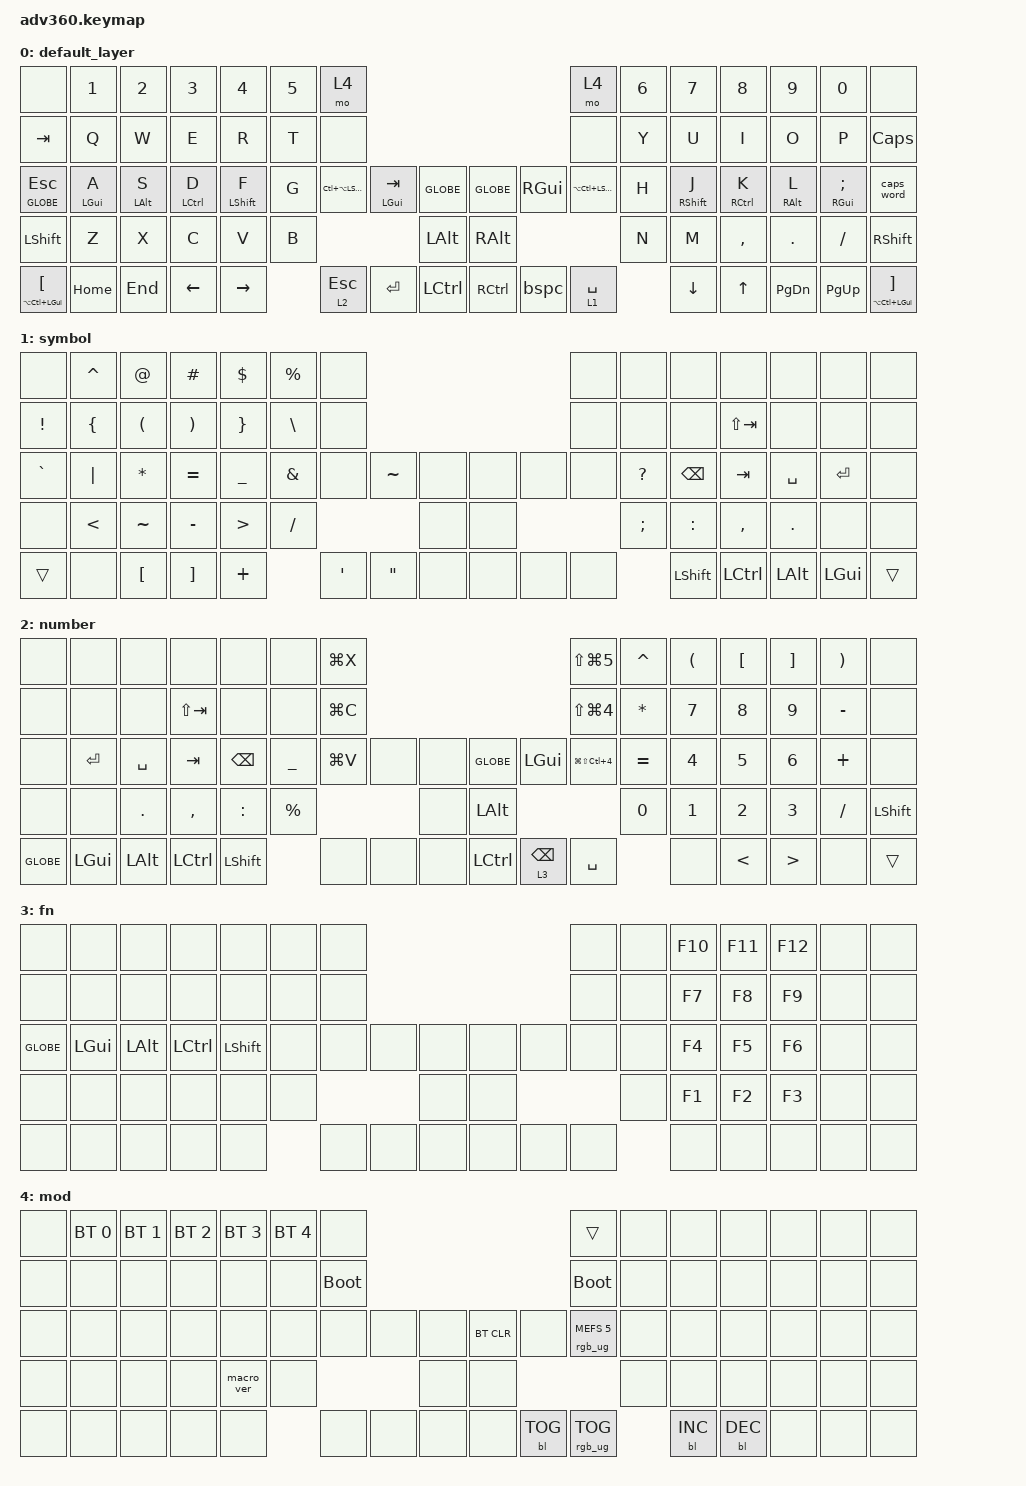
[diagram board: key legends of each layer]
#include <behaviors.dtsi>
#include <dt-bindings/zmk/backlight.h>
#include <dt-bindings/zmk/bt.h>
#include <dt-bindings/zmk/keys.h>
#include <dt-bindings/zmk/rgb.h>

/ {
    behaviors {
        #include "macros.dtsi"
      #include "version.dtsi"
      #ifndef VERSION_MACRO

        macro_ver: macro_ver {
            compatible = "zmk,behavior-macro";
            label = "macro_version";
            #binding-cells = <0>;
            bindings = <&kp RET>;
        };

        #endif

        lhmi: left_homerow_mod_index_finger {
            compatible = "zmk,behavior-hold-tap";
            #binding-cells = <2>;
            flavor = "balanced";
            tapping-term-ms = <170>;
            quick-tap-ms = <170>;
            bindings = <&kp>, <&kp>;

            hold-trigger-key-positions = <22 23 24 25 26 27 40 41 42 43 44 45 54 55 56 57 58 59 71 72 73 74 75 8 9 10 11 12 13 22 23 24 25 26 27 40 41 42 43 44 45 54 55 56 57 58 59 71 72 73 74 75 7 8 9 10 11 12 13 21 22 23 24 25 26 27 38 39 40 41 42 43 44 45 54 55 56 57 58 59 69 70 71 72 73 74 75 37 38 53 68 69 70 35 36 37 38 52 53 65 66 67 68 69 70 71>;
        };

        lhmm: left_homerow_mod_middle_finger {
            compatible = "zmk,behavior-hold-tap";
            #binding-cells = <2>;
            flavor = "tap-preferred";
            tapping-term-ms = <200>;
            quick-tap-ms = <200>;
            require-prior-idle-ms = <125>;
            bindings = <&kp>, <&kp>;

            hold-trigger-key-positions = <35 36 37 38 52 53 65 66 67 68 69 70 71 72 73 74 75 7 8 9 10 11 12 13 21 22 23 24 25 26 27 38 39 40 41 42 43 44 45 54 55 56 57 58 59 69 70 71 72 73 74 75>;
        };

        lhmr: left_homerow_mod_ring_finger {
            compatible = "zmk,behavior-hold-tap";
            #binding-cells = <2>;
            flavor = "tap-preferred";
            tapping-term-ms = <200>;
            quick-tap-ms = <200>;
            require-prior-idle-ms = <125>;
            bindings = <&kp>, <&kp>;

            hold-trigger-key-positions = <35 36 37 38 52 53 65 66 67 68 69 70 71 72 73 74 75 7 8 9 10 11 12 13 21 22 23 24 25 26 27 38 39 40 41 42 43 44 45 54 55 56 57 58 59 69 70 71 72 73 74 75>;
        };

        lhmp: left_homerow_mod_pinky_finger {
            compatible = "zmk,behavior-hold-tap";
            #binding-cells = <2>;
            flavor = "tap-preferred";
            tapping-term-ms = <200>;
            quick-tap-ms = <200>;
            require-prior-idle-ms = <125>;
            bindings = <&kp>, <&kp>;

            hold-trigger-key-positions = <35 36 37 38 52 53 65 66 67 68 69 70 7 8 9 10 11 12 13 21 22 23 24 25 26 27 38 39 40 41 42 43 44 45 54 55 56 57 58 59 68 69 70 71 72 73 74 75>;
        };

        rhmi: right_homerow_mod_index_finger {
            compatible = "zmk,behavior-hold-tap";
            #binding-cells = <2>;
            flavor = "balanced";
            tapping-term-ms = <170>;
            quick-tap-ms = <170>;
            bindings = <&kp>, <&kp>;

            hold-trigger-key-positions = <35 36 37 38 52 53 65 66 67 68 69 70 0 1 2 3 4 5 6 14 15 16 17 18 19 20 28 29 30 31 32 33 34 35 46 47 48 49 50 51 52 60 61 62 63 64 65 66 67>;
        };

        rhmm: right_homerow_mod_middle_finger {
            compatible = "zmk,behavior-hold-tap";
            #binding-cells = <2>;
            flavor = "tap-preferred";
            tapping-term-ms = <200>;
            quick-tap-ms = <200>;
            require-prior-idle-ms = <125>;
            bindings = <&kp>, <&kp>;

            hold-trigger-key-positions = <35 36 37 38 52 53 63 64 65 66 69 70 35 36 37 38 52 53 63 64 65 66 67 68 69 70 70 0 1 2 3 4 5 6 14 15 16 17 18 19 20 28 29 30 31 32 33 34 35 46 47 48 49 50 51 60 61 62 63 64 65 66>;
        };

        rhmr: right_homerow_mod_ring_finger {
            compatible = "zmk,behavior-hold-tap";
            #binding-cells = <2>;
            flavor = "tap-preferred";
            tapping-term-ms = <200>;
            quick-tap-ms = <200>;
            require-prior-idle-ms = <125>;
            bindings = <&kp>, <&kp>;

            hold-trigger-key-positions = <35 36 37 38 52 53 65 66 67 68 69 70 0 1 2 3 4 5 6 14 15 16 17 18 19 20 28 29 30 31 32 33 34 35 36 37 38 46 47 48 49 50 51 52 53 60 61 62 63 64 65 66 67 68>;
        };

        rhmp: right_homerow_mod_pinky_finger {
            compatible = "zmk,behavior-hold-tap";
            #binding-cells = <2>;
            flavor = "tap-preferred";
            tapping-term-ms = <200>;
            quick-tap-ms = <200>;
            require-prior-idle-ms = <125>;
            bindings = <&kp>, <&kp>;

            hold-trigger-key-positions = <35 36 37 38 52 53 65 66 67 68 69 70 0 1 2 3 4 5 6 14 15 16 17 18 19 20 28 29 30 31 32 33 34 35 46 47 48 49 50 51 52 60 61 62 63 64 65 66 67>;
        };

        bspc: backspace_delete {
            compatible = "zmk,behavior-mod-morph";
            label = "BACKSPACE_DELETE";
            bindings = <&kp BACKSPACE>, <&kp DELETE>;

            #binding-cells = <0>;
            mods = <(MOD_LSFT|MOD_RSFT)>;
        };

        sym_tap: sym_tap {
            compatible = "zmk,behavior-hold-tap";
            label = "SYM_TAP";
            bindings = <&mo>, <&kp>;

            #binding-cells = <2>;
            tapping-term-ms = <180>;
            flavor = "tap-preferred";
        };

        bspc_cursor: bspc_cursor {
            compatible = "zmk,behavior-hold-tap";
            label = "BSPC_CURSOR";
            bindings = <&mo>, <&bspc>;

            #binding-cells = <2>;
            tapping-term-ms = <200>;
            flavor = "tap-preferred";
        };

        select_line: select_line {
            compatible = "zmk,behavior-macro";
            #binding-cells = <0>;
            bindings = <&kp LG(LEFT_ARROW) &kp LS(LG(RIGHT))>;
            label = "SELECT_LINE";
        };

        hm: homerow_mods {
            compatible = "zmk,behavior-hold-tap";
            label = "HOMEROW_MODS";
            #binding-cells = <2>;
            tapping-term-ms = <200>;
            quick_tap_ms = <175>;
            flavor = "tap-preferred";
            bindings = <&kp>, <&kp>;
        };

        bol: bol {
            compatible = "zmk,behavior-tap-dance";
            label = "BOL";
            #binding-cells = <0>;
            bindings = <&kp LG(LEFT)>, <&kp HOME>;
        };

        eol: eol {
            compatible = "zmk,behavior-tap-dance";
            label = "EOL";
            #binding-cells = <0>;
            bindings = <&kp LG(RIGHT)>, <&kp END>;
        };

        multi_caps: multi_caps {
            compatible = "zmk,behavior-hold-tap";
            label = "MULTI_CAPS";
            bindings = <&kp>, <&caps_word>;

            #binding-cells = <2>;
            tapping-term-ms = <200>;
        };
    };

    macros {
    };

    keymap {
        compatible = "zmk,keymap";

        default_layer {
            bindings = <
&none                  &kp N1        &kp N2        &kp N3         &kp N4         &kp N5  &mo 4                                                                &mo 4              &kp N6  &kp N7         &kp N8         &kp N9        &kp N0           &none
&kp TAB                &kp Q         &kp W         &kp E          &kp R          &kp T   &none                                                                &none              &kp Y   &kp U          &kp I          &kp O         &kp P            &kp CAPS
&mt GLOBE ESC          &lhmp LGUI A  &lhmr LALT S  &lhmm LCTRL D  &lhmi LSHFT F  &kp G   &kp LC(LA(LSHFT))  &mt LGUI TAB  &kp GLOBE      &kp GLOBE  &kp RGUI  &kp LA(LC(LSHFT))  &kp H   &rhmi RSHFT J  &rhmm RCTRL K  &rhmr RALT L  &rhmp RGUI SEMI  &caps_word
&kp LSHFT              &kp Z         &kp X         &kp C          &kp V          &kp B                                    &kp LALT       &kp RALT                                &kp N   &kp M          &kp COMMA      &kp DOT       &kp FSLH         &kp RSHIFT
&mt LA(LC(LGUI)) LBKT  &kp HOME      &kp END       &kp LEFT       &kp RIGHT              &lt 2 ESC          &kp ENTER     &kp LCTRL      &kp RCTRL  &bspc     &sym_tap 1 SPACE           &kp DOWN       &kp UP         &kp PG_DN     &kp PG_UP        &mt LA(LC(LGUI)) RBKT
            >;
        };

        symbol {
            bindings = <
&none      &kp CARET  &kp AT     &kp HASH   &kp DLLR   &kp PRCNT  &none                                        &none  &none      &none      &none        &none      &none     &none
&kp EXCL   &kp LBRC   &kp LPAR   &kp RPAR   &kp RBRC   &kp BSLH   &none                                        &none  &none      &none      &kp LS(TAB)  &none      &none     &none
&kp GRAVE  &kp PIPE   &kp STAR   &kp EQUAL  &kp UNDER  &kp AMPS   &none    &kp TILDE  &none      &none  &none  &none  &kp QMARK  &kp BSPC   &kp TAB      &kp SPACE  &kp RET   &none
&none      &kp LT     &kp TILDE  &kp MINUS  &kp GT     &kp SLASH                      &none      &none                &kp SEMI   &kp COLON  &kp COMMA    &kp DOT    &none     &none
&trans     &none      &kp LBKT   &kp RBKT   &kp PLUS              &kp SQT  &kp DQT    &none      &none  &none  &none             &kp LSHFT  &kp LCTRL    &kp LALT   &kp LGUI  &trans
            >;
        };

        number {
            bindings = <
&none      &none      &none       &none        &none      &none      &kp LG(X)                                           &kp LS(LG(N5))      &kp CARET  &kp LPAR  &kp LBKT  &kp RBKT  &kp RPAR   &none
&none      &none      &none       &kp LS(TAB)  &none      &none      &kp LG(C)                                           &kp LS(LG(N4))      &kp STAR   &kp N7    &kp N8    &kp N9    &kp MINUS  &none
&none      &kp ENTER  &kp SPACE   &kp TAB      &kp BSPC   &kp UNDER  &kp LG(V)  &none  &none      &kp GLOBE  &kp LGUI    &kp LG(LS(LC(N4)))  &kp EQUAL  &kp N4    &kp N5    &kp N6    &kp PLUS   &none
&none      &none      &kp PERIOD  &kp COMMA    &kp COLON  &kp PRCNT                    &none      &kp LALT                                   &kp N0     &kp N1    &kp N2    &kp N3    &kp SLASH  &kp LSHFT
&kp GLOBE  &kp LGUI   &kp LALT    &kp LCTRL    &kp LSHFT             &none      &none  &none      &kp LCTRL  &lt 3 BSPC  &kp SPACE                      &none     &kp LT    &kp GT    &none      &trans
            >;
        };

        fn {
            bindings = <
&none      &none     &none     &none      &none       &none  &none                                  &none  &none  &kp F10  &kp F11  &kp F12  &none  &none
&none      &none     &none     &none      &none       &none  &none                                  &none  &none  &kp F7   &kp F8   &kp F9   &none  &none
&kp GLOBE  &kp LGUI  &kp LALT  &kp LCTRL  &kp LSHIFT  &none  &none  &none  &none      &none  &none  &none  &none  &kp F4   &kp F5   &kp F6   &none  &none
&none      &none     &none     &none      &none       &none                &none      &none                &none  &kp F1   &kp F2   &kp F3   &none  &none
&none      &none     &none     &none      &none              &none  &none  &none      &none  &none  &none         &none    &none    &none    &none  &none
            >;
        };

        mod {
            bindings = <
&none  &bt BT_SEL 0  &bt BT_SEL 1  &bt BT_SEL 2  &bt BT_SEL 3  &bt BT_SEL 4  &none                                                  &trans                  &none  &none       &none       &none  &none  &none
&none  &none         &none         &none         &none         &none         &bootloader                                            &bootloader             &none  &none       &none       &none  &none  &none
&none  &none         &none         &none         &none         &none         &none        &none  &none      &bt BT_CLR  &none       &rgb_ug RGB_MEFS_CMD 5  &none  &none       &none       &none  &none  &none
&none  &none         &none         &none         &macro_ver    &none                             &none      &none                                           &none  &none       &none       &none  &none  &none
&none  &none         &none         &none         &none                       &none        &none  &none      &none       &bl BL_TOG  &rgb_ug RGB_TOG                &bl BL_INC  &bl BL_DEC  &none  &none  &none
            >;
        };
    };
};
